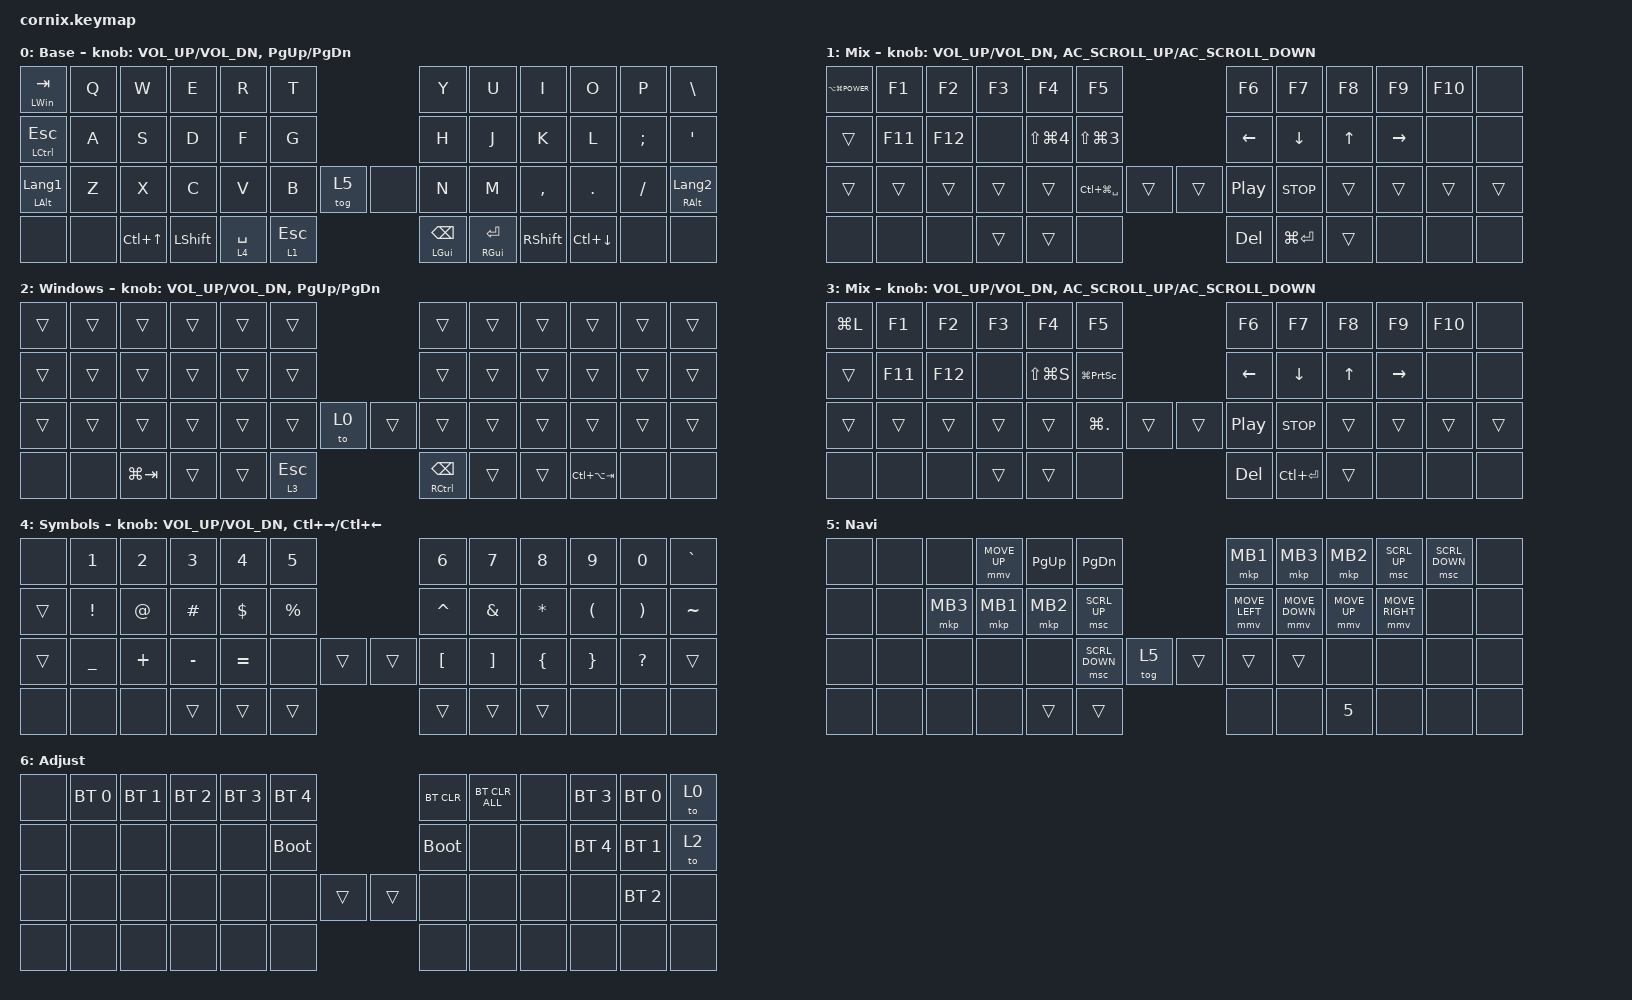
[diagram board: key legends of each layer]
/*
 * Copyright (c) 2020 The ZMK Contributors
 *
 * SPDX-License-Identifier: MIT
 */

#include "zmk-helpers/helper.h"
#include "includes/cornix54.h"

// tap windows for ctl alt and gui

#define HM_TAPPING_TERM 250
#define HM_TAPPING_REPEAT 210

// quick tapping for shift

#define HM_TAPPING_TERM_FAST 200
#define HM_PRIOR_IDLE 70
#define BASE 0
#define WIN 1
#define LOWER 2
#define RAISE 3
#define ADJUST 4
#define NAVI   5
#define NUM    6
#define DEBUG  7

// https://github.com/urob/zmk-config/tree/main#timeless-homerow-mods

#define KEYS_L LT0 LT1 LT2 LT3 LT4 LT5 LM0 LM1 LM2 LM3 LM4 LM5 LB0 LB1 LB2 LB3 LB4 LB5  // left hand
#define KEYS_R RT0 RT1 RT2 RT3 RT4 RT5 RM0 RM1 RM2 RM3 RM4 RM5 RB0 RB1 RB2 RB3 RB4 RB5  // right hand
#define THUMBS LH1 LH0 RH0 RH1
#define KEYS_T LH1 LH0 RH0 RH1
#define ZMK_POINTING_DEFAULT_SCRL_VAL 15

#include <behaviors.dtsi>
#include <dt-bindings/zmk/bt.h>
#include <dt-bindings/zmk/keys.h>
#include <dt-bindings/zmk/pointing.h>

/ {
    // Activate ADJUST layer by pressing raise and lower

    behaviors {
        hm_l: homerow_mods_left {
            compatible = "zmk,behavior-hold-tap";
            #binding-cells = <2>;
            bindings = <&kp>, <&kp>;

            flavor = "balanced";
            tapping-term-ms = <HM_TAPPING_TERM>;
            quick-tap-ms = <200>;                // repeat on tap-into-hold
            require-prior-idle-ms = <HM_PRIOR_IDLE>;
            hold-trigger-key-positions = <KEYS_R KEYS_T>;
            hold-trigger-on-release;
        };

        hm_r: homerow_mods_right {
            compatible = "zmk,behavior-hold-tap";
            #binding-cells = <2>;
            bindings = <&kp>, <&kp>;

            flavor = "balanced";
            tapping-term-ms = <HM_TAPPING_TERM>;
            quick-tap-ms = <200>;
            require-prior-idle-ms = <HM_PRIOR_IDLE>;
            hold-trigger-key-positions = <KEYS_L KEYS_T>;
            hold-trigger-on-release;
        };

        // Positional Homerow mods for shift
        // Use faster tapping term and disable some features that may
        // cause false negatives.

        hm_shift_l: hm_shift_l {
            compatible = "zmk,behavior-hold-tap";
            #binding-cells = <2>;
            bindings = <&kp>, <&kp>;

            //flavor = "balanced";

            flavor = "balanced";
            tapping-term-ms = <HM_TAPPING_TERM_FAST>;
            quick-tap-ms = <200>;
            require-prior-idle-ms = <HM_PRIOR_IDLE>;
            hold-trigger-key-positions = <KEYS_R KEYS_T>;
            hold-trigger-on-release;
        };

        hm_shift_r: hm_shift_r {
            compatible = "zmk,behavior-hold-tap";
            #binding-cells = <2>;
            bindings = <&kp>, <&kp>;

            flavor = "balanced";
            tapping-term-ms = <HM_TAPPING_TERM_FAST>;
            quick-tap-ms = <200>;
            require-prior-idle-ms = <HM_PRIOR_IDLE>;
            hold-trigger-key-positions = <KEYS_L KEYS_T>;

            // for quick tapping; shift+~

            hold-trigger-on-release;
        };

        /*
         * Non-Positional Homerow Mods
         * Used for &mm_grescm_gui behavior on left hand.
         *
         * Usage: &hm LSHFT T
         * Tap: T
         * Tap-Tap-Hold: Repeat T
         * Hold: LSHIFT
         */

        hm: homerow_mods {
            compatible = "zmk,behavior-hold-tap";
            #binding-cells = <2>;
            bindings = <&kp>, <&kp>;

            flavor = "balanced";
            tapping-term-ms = <HM_TAPPING_TERM>;
            quick-tap-ms = <200>;
        };

        lt: layer_tap {
            compatible = "zmk,behavior-hold-tap";
            #binding-cells = <2>;
            bindings = <&mo>, <&kp>;

            flavor = "hold-preferred";
            tapping-term-ms = <HM_TAPPING_TERM>;
            quick-tap-ms = <200>;
        };

        mt2: mod_tap2 {
            compatible = "zmk,behavior-hold-tap";
            label = "mod/tap2";
            bindings = <&kp>, <&kp>;

            #binding-cells = <2>;
            tapping-term-ms = <200>;
            quick-tap-ms = <200>;
            require-prior-idle-ms = <125>;
            flavor = "tap-preferred";
        };

        mt3: mod_tap3 {
            compatible = "zmk,behavior-hold-tap";
            label = "MT3";
            bindings = <&kp>, <&kp>;

            #binding-cells = <2>;
            tapping-term-ms = <200>;
            quick-tap-ms = <200>;
            require-prior-idle-ms = <125>;
            flavor = "hold-preferred";
        };
    };

    conditional_layers {
        compatible = "zmk,conditional-layers";

        adjust_layer {
            if-layers = <1 4>;
            then-layer = <5>;
        };
    };

    combos {
        compatible = "zmk,combos";

        to_system_layer {
            bindings = <&mo 6>;
            key-positions = <24 37>;
        };

        rightclick {
            bindings = <&mkp RCLK>;
            key-positions = <15 16>;
        };

        leftclick {
            bindings = <&mkp LCLK>;
            key-positions = <14 15>;
        };

        middleclick {
            bindings = <&mkp MCLK>;
            key-positions = <14 16>;
        };
    };

    keymap {
        compatible = "zmk,keymap";

        default_layer {
            display-name = "Base";

            // ------------------------------------------------------------------------------------------------------------
            // |   `   |  1  |  2  |  3   |  4   |  5   |                   |  6   |  7    |  8    |  9   |   0   |       |
            // |  ESC  |  Q  |  W  |  E   |  R   |  T   |                   |  Y   |  U    |  I    |  O   |   P   | BKSPC |
            // |  TAB  |  A  |  S  |  D   |  F   |  G   |                   |  H   |  J    |  K    |  L   |   ;   |   '   |
            // | SHIFT |  Z  |  X  |  C   |  V   |  B   |  MUTE  |  |       |  N   |  M    |  ,    |  .   |   /   | SHIFT |
            //               | GUI | ALT  | CTRL | LOWER|  ENTER |  | SPACE | RAISE| CTRL  | ALT   | GUI  |

            bindings = <
&mt2 LEFT_WIN TAB         &kp Q  &kp W             &kp E           &kp R        &kp T                        &kp Y                &kp U                 &kp I       &kp O         &kp P     &kp BSLH
&mt LCTRL ESC             &kp A  &kp S             &kp D           &kp F        &kp G                        &kp H                &kp J                 &kp K       &kp L         &kp SEMI  &kp SQT
&mt2 LEFT_ALT LANGUAGE_1  &kp Z  &kp X             &kp C           &kp V        &kp B         &tog 5  &none  &kp N                &kp M                 &kp COMMA   &kp DOT       &kp FSLH  &mt2 RIGHT_ALT LANGUAGE_2
&none                     &none  &kp LC(UP_ARROW)  &kp LEFT_SHIFT  &lt 4 SPACE  &lt 1 ESCAPE                 &mt3 LGUI BACKSPACE  &mt3 RIGHT_GUI ENTER  &kp RSHIFT  &kp LC(DOWN)  &none     &none
            >;

            sensor-bindings = <&inc_dec_kp C_VOL_UP C_VOL_DN &inc_dec_kp PG_UP PG_DN>;
        };

        Mac_func_layer {
            display-name = "Mix";

            // ------------------------------------------------------------------------------------------------------------
            // | BTCLR | BT1  | BT2  |  BT3  |  BT4  |  BT5 |                |      |      |       |      |       |       |
            // |       | INS  | PSCR | GUI   |       |      |                | PGUP |      |   ^   |      |       |       |
            // |       | ALT  | CTRL | SHIFT |       | CAPS |                | PGDN |   <- |   v   |  ->  |  DEL  | BKSPC |
            // |       | UNDO | CUT  | COPY  | PASTE |      |      |  |      |      |      |       |      |       |       |
            //                |      |       |       |      |      |  |      |      |      |       |      |

            bindings = <
&kp LA(LG(C_POWER))  &kp F1   &kp F2   &kp F3  &kp F4                &kp F5                                &kp F6            &kp F7         &kp F8        &kp F9     &kp F10  &none
&trans               &kp F11  &kp F12  &none   &kp LS(LG(NUMBER_4))  &kp LS(LG(NUMBER_3))                  &kp LEFT          &kp DOWN       &kp UP_ARROW  &kp RIGHT  &none    &none
&trans               &trans   &trans   &trans  &trans                &kp LC(LG(SPACE))     &trans  &trans  &kp C_PLAY_PAUSE  &kp C_STOP     &trans        &trans     &trans   &trans
&none                &none    &none    &trans  &trans                &none                                 &kp DELETE        &kp LG(ENTER)  &trans        &none      &none    &none
            >;

            sensor-bindings =
                <&inc_dec_kp C_VOL_UP C_VOL_DN>,
                <&inc_dec_kp C_AC_SCROLL_UP C_AC_SCROLL_DOWN>;
        };

        win_layer {
            display-name = "Windows";

            // ------------------------------------------------------------------------------------------------------------
            // |   `   |  1  |  2  |  3   |  4   |  5   |                   |  6   |  7    |  8    |  9   |   0   |       |
            // |  ESC  |  Q  |  W  |  E   |  R   |  T   |                   |  Y   |  U    |  I    |  O   |   P   | BKSPC |
            // |  TAB  |  A  |  S  |  D   |  F   |  G   |                   |  H   |  J    |  K    |  L   |   ;   |   '   |
            // | SHIFT |  Z  |  X  |  C   |  V   |  B   |  MUTE  |  |       |  N   |  M    |  ,    |  .   |   /   | SHIFT |
            //               | GUI | ALT  | CTRL | LOWER|  ENTER |  | SPACE | RAISE| CTRL  | ALT   | GUI  |

            bindings = <
&trans  &trans  &trans       &trans  &trans  &trans                       &trans                &trans  &trans  &trans           &trans  &trans
&trans  &trans  &trans       &trans  &trans  &trans                       &trans                &trans  &trans  &trans           &trans  &trans
&trans  &trans  &trans       &trans  &trans  &trans        &to 0  &trans  &trans                &trans  &trans  &trans           &trans  &trans
&none   &none   &kp LG(TAB)  &trans  &trans  &lt 3 ESCAPE                 &mt2 RCTRL BACKSPACE  &trans  &trans  &kp LC(LA(TAB))  &none   &none
            >;

            sensor-bindings = <&inc_dec_kp C_VOL_UP C_VOL_DN &inc_dec_kp PG_UP PG_DN>;
        };

        win_func_layer {
            display-name = "Mix";
            bindings = <
&kp LG(L)  &kp F1   &kp F2   &kp F3  &kp F4         &kp F5                               &kp F6            &kp F7         &kp F8        &kp F9     &kp F10  &none
&trans     &kp F11  &kp F12  &none   &kp LS(LG(S))  &kp LG(PRINTSCREEN)                  &kp LEFT          &kp DOWN       &kp UP_ARROW  &kp RIGHT  &none    &none
&trans     &trans   &trans   &trans  &trans         &kp LG(DOT)          &trans  &trans  &kp C_PLAY_PAUSE  &kp C_STOP     &trans        &trans     &trans   &trans
&none      &none    &none    &trans  &trans         &none                                &kp DELETE        &kp LC(ENTER)  &trans        &none      &none    &none
            >;

            sensor-bindings =
                <&inc_dec_kp C_VOL_UP C_VOL_DN>,
                <&inc_dec_kp C_AC_SCROLL_UP C_AC_SCROLL_DOWN>;
        };

        Symbol_layer {
            display-name = "Symbols";

            // TODO: Some binds are waiting for shifted keycode support.
            // -------------------------------
            // |       |  F1 |  F2 |  F3  |  F4  |  F5  |                   |  F6  |  F7   |  F8   |  F9  |  F10  |  F11  |
            // |   `   |  1  |  2  |  3   |  4   |  5   |                   |  6   |  7    |  8    |  9   |   0   |  F12  |
            // |       |  !  |  @  |  #   |  $   |  %   |                   |  ^   |  &    |  *    |  (   |   )   |   |   |
            // |       |  =  |  -  |  +   |  {   |  }   |        |  |       |  [   |  ]    |  ;    |  :   |   \   |       |
            //               |     |      |      |      |        |  |       |      |       |       |      |

            bindings = <
&none   &kp NUMBER_1     &kp NUMBER_2  &kp NUMBER_3  &kp NUMBER_4  &kp N5                       &kp NUMBER_6      &kp N7             &kp N8          &kp N9                &kp N0                 &kp GRAVE
&trans  &kp EXCLAMATION  &kp AT_SIGN   &kp HASH      &kp DOLLAR    &kp PERCENT                  &kp CARET         &kp AMPERSAND      &kp ASTERISK    &kp LEFT_PARENTHESIS  &kp RIGHT_PARENTHESIS  &kp TILDE
&trans  &kp UNDER        &kp PLUS      &kp MINUS     &kp EQUAL     &none        &trans  &trans  &kp LEFT_BRACKET  &kp RIGHT_BRACKET  &kp LEFT_BRACE  &kp RIGHT_BRACE       &kp QUESTION           &trans
&none   &none            &none         &trans        &trans        &trans                       &trans            &trans             &trans          &none                 &none                  &none
            >;

            sensor-bindings =
                <&inc_dec_kp C_VOL_UP C_VOL_DN>,
                <&inc_dec_kp LC(RIGHT) LC(LEFT)>;
        };

        Navi_layer {
            display-name = "Navi";
            bindings = <
&none  &none  &none     &mmv MOVE_UP  &kp PAGE_UP  &kp PAGE_DOWN                   &mkp MB1        &mkp MB3        &mkp MB2      &msc SCRL_UP     &msc SCRL_DOWN  &none
&none  &none  &mkp MB3  &mkp MB1      &mkp MB2     &msc SCRL_UP                    &mmv MOVE_LEFT  &mmv MOVE_DOWN  &mmv MOVE_UP  &mmv MOVE_RIGHT  &none           &none
&none  &none  &none     &none         &none        &msc SCRL_DOWN  &tog 5  &trans  &trans          &trans          &none         &none            &none           &none
&none  &none  &none     &none         &trans       &trans                          &none           &none           &kp N5        &none            &none           &none
            >;
        };

        Adjust_layer {
            display-name = "Adjust";

            // ----------------------------------------------------------------------------------------------------------------------------
            // | BTCLR  |  BT1    |  BT2    |   BT3   |   BT4   |   BT5   |                  |      |      |       |      |       |       |
            // | moDEBUG| RGB_HUD | RGB_HUI | RGB_SAD | RGB_SAI | RGB_EFF |                  |      |      |       |      |       |       |
            // | EXTPWR | RGB_BRD | RGB_BRI |         |         |         |                  |      |      |       |      |       |       |
            // |        |         |         |         |         |         | RGB_TOG | |      |      |      |       |      |       |       |
            //                    |         |         |         |         |         | |      |      |      |       |      |

            bindings = <
&none  &bt BT_SEL 0  &bt BT_SEL 1  &bt BT_SEL 2  &bt BT_SEL 3  &bt BT_SEL 4                  &bt BT_CLR   &bt BT_CLR_ALL  &none  &bt BT_SEL 3  &bt BT_SEL 0  &to 0
&none  &none         &none         &none         &none         &bootloader                   &bootloader  &none           &none  &bt BT_SEL 4  &bt BT_SEL 1  &to 2
&none  &none         &none         &none         &none         &none         &trans  &trans  &none        &none           &none  &none         &bt BT_SEL 2  &none
&none  &none         &none         &none         &none         &none                         &none        &none           &none  &none         &none         &none
            >;
        };
    };
};
